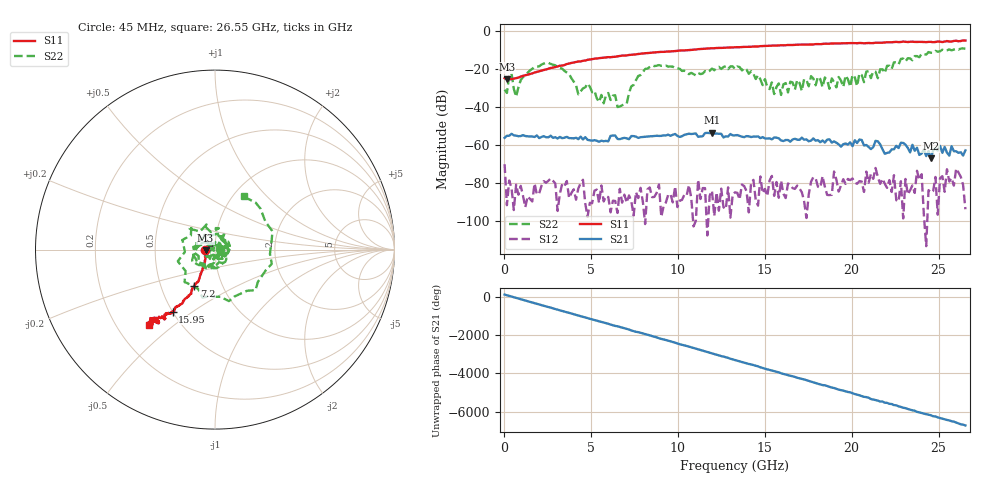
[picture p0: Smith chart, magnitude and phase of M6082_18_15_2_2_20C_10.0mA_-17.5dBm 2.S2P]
!  2-Port S-parameters saved by WinCal
! VAR MeasName=S-Parameters (CALIBRATED_DATA) read from VNA (C)
! VAR MeasDate=9/29/2015 3:35:27 PM
! VAR NAME=M6082_18_15_2_2_20C_10.0mA_-17.5dBm 2
! VAR FILENAME=M6082_18_15_2_2_20C_10.0mA_-17.5dBm 2.S2P
! VAR DATE=9/29/2015 3:35:27 PM
! VAR PHYS_PORTS=2,1
! VAR ObjTypeName=DATASET
! VAR IndexType=Frequency
# Hz S RI R 50
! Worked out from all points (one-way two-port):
!   201 points, 45 MHz to 26.55 GHz, reference 50 ohm
!   highest |S21| = -53.72 dB at 11.97 GHz (marker M1); lowest = -67.2 dB at 24.56 GHz (marker M2)
!   lowest |S11| = -25.6 dB at 177.5 MHz (marker M3), VSWR 1.11, Z = 45 - j0.378 ohm
!   |S11| at or under -10 dB: start of sweep to 10.78 GHz
!   |S22| runs from -40.1 to -9.2 dB; largest |S21 - S12| = 0.0021
!   S11 on the Smith chart (normalised r, x): 45 MHz: 0.89, -0.00; 7.2 GHz: 0.74, -0.31; 15.95 GHz: 0.50, -0.42; 26.55 GHz: 0.34, -0.41
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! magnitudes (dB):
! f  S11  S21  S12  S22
! 45 MHz  -24.9  -56.4  -70.3  -31.0
! 177.5 MHz  -25.6  -55.3  -91.9  -32.7
! 442.5 MHz  -25.4  -54.2  -82.9  -22.4
! 707.5 MHz  -24.9  -55.2  -81.1  -34.7
! 1.105 GHz  -23.7  -55.0  -87.1  -24.4
! 2.562 GHz  -19.9  -56.1  -79.0  -16.8
! 4.55 GHz  -15.8  -57.2  -78.5  -30.3
! 6.537 GHz  -13.4  -57.0  -96.0  -40.1
! 7.2 GHz  -12.7  -57.1  -86.7  -32.8
! 8.922 GHz  -11.2  -55.4  -81.0  -18.0
! 11.97 GHz  -9.2  -53.7  -84.3  -19.9
! 13.29 GHz  -8.6  -55.1  -85.1  -20.1
! 15.95 GHz  -7.6  -57.8  -79.0  -33.8
! 17.8 GHz  -7.2  -56.7  -77.1  -25.1
! 20.32 GHz  -6.5  -59.1  -80.6  -29.1
! 21.38 GHz  -6.2  -58.0  -72.3  -21.5
! 22.17 GHz  -6.0  -64.1  -78.7  -18.4
! 24.56 GHz  -5.8  -67.2  -85.2  -11.5
! 25.48 GHz  -5.4  -64.2  -72.9  -10.3
! 25.88 GHz  -5.3  -63.5  -81.6  -9.9
! 26.02 GHz  -5.2  -63.5  -72.6  -9.5
! 26.55 GHz  -5.1  -63.0  -94.0  -9.5
